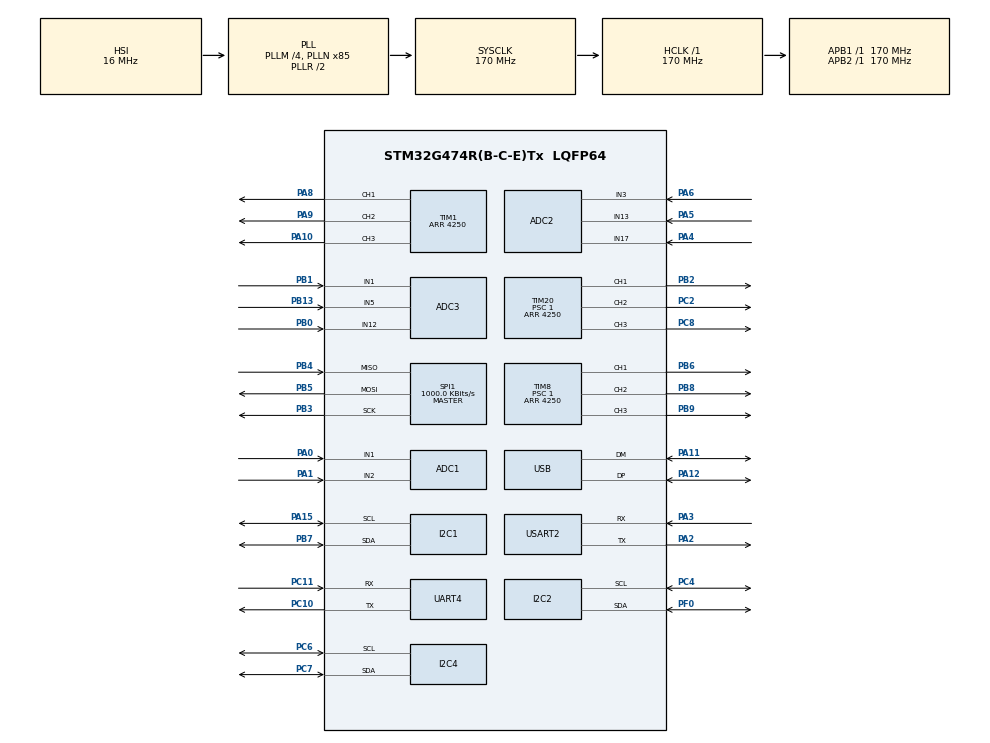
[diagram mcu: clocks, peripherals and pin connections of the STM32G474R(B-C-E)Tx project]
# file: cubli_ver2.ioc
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ADC1.Channel-0\#ChannelRegularConversion=ADC_CHANNEL_1
ADC1.Channel-1\#ChannelRegularConversion=ADC_CHANNEL_2
ADC1.Channel-2\#ChannelRegularConversion=ADC_CHANNEL_3
ADC1.ClockPrescaler=ADC_CLOCK_SYNC_PCLK_DIV4
ADC1.ExternalTrigConv=ADC_EXTERNALTRIG_T1_TRGO2
ADC1.NbrOfConversion=3
ADC1.NbrOfConversionFlag=1
ADC1.OffsetNumber-0\#ChannelRegularConversion=ADC_OFFSET_NONE
ADC1.OffsetNumber-1\#ChannelRegularConversion=ADC_OFFSET_NONE
ADC1.OffsetNumber-2\#ChannelRegularConversion=ADC_OFFSET_NONE
ADC1.Rank-0\#ChannelRegularConversion=1
ADC1.Rank-1\#ChannelRegularConversion=2
ADC1.Rank-2\#ChannelRegularConversion=3
ADC1.SamplingTime-0\#ChannelRegularConversion=ADC_SAMPLETIME_2CYCLES_5
ADC1.SamplingTime-1\#ChannelRegularConversion=ADC_SAMPLETIME_2CYCLES_5
ADC1.SamplingTime-2\#ChannelRegularConversion=ADC_SAMPLETIME_2CYCLES_5
ADC1.master=1
ADC2.Channel-0\#ChannelRegularConversion=ADC_CHANNEL_3
ADC2.Channel-1\#ChannelRegularConversion=ADC_CHANNEL_13
ADC2.Channel-2\#ChannelRegularConversion=ADC_CHANNEL_17
ADC2.ClockPrescaler=ADC_CLOCK_SYNC_PCLK_DIV4
ADC2.NbrOfConversion=3
ADC2.NbrOfConversionFlag=1
ADC2.OffsetNumber-0\#ChannelRegularConversion=ADC_OFFSET_NONE
ADC2.OffsetNumber-1\#ChannelRegularConversion=ADC_OFFSET_NONE
ADC2.OffsetNumber-2\#ChannelRegularConversion=ADC_OFFSET_NONE
ADC2.Rank-0\#ChannelRegularConversion=1
ADC2.Rank-1\#ChannelRegularConversion=2
ADC2.Rank-2\#ChannelRegularConversion=3
ADC2.SamplingTime-0\#ChannelRegularConversion=ADC_SAMPLETIME_2CYCLES_5
ADC2.SamplingTime-1\#ChannelRegularConversion=ADC_SAMPLETIME_2CYCLES_5
ADC2.SamplingTime-2\#ChannelRegularConversion=ADC_SAMPLETIME_2CYCLES_5
ADC3.Channel-0\#ChannelRegularConversion=ADC_CHANNEL_1
ADC3.NbrOfConversionFlag=1
ADC3.OffsetNumber-0\#ChannelRegularConversion=ADC_OFFSET_NONE
ADC3.Rank-0\#ChannelRegularConversion=1
ADC3.SamplingTime-0\#ChannelRegularConversion=ADC_SAMPLETIME_2CYCLES_5
ADC3.master=1
Mcu.Family=STM32G4
Mcu.Name=STM32G474R(B-C-E)Tx
Mcu.Package=LQFP64
NVIC.PriorityGroup=NVIC_PRIORITYGROUP_4
PA0.Mode=IN1-Single-Ended
PA0.Signal=ADC1_IN1
PA1.Mode=IN2-Single-Ended
PA1.Signal=ADC1_IN2
PA10.Signal=S_TIM1_CH3
PA11.Mode=Device
PA11.Signal=USB_DM
PA12.Mode=Device
PA12.Signal=USB_DP
PA13.Mode=Serial_Wire
PA13.Signal=SYS_JTMS-SWDIO
PA14.Mode=Serial_Wire
PA14.Signal=SYS_JTCK-SWCLK
PA15.Mode=I2C
PA15.Signal=I2C1_SCL
PA2.Mode=Asynchronous
PA2.Signal=USART2_TX
PA3.Mode=Asynchronous
PA3.Signal=USART2_RX
PA4.Mode=IN17-Single-Ended
PA4.Signal=ADC2_IN17
PA5.Mode=IN13-Single-Ended
PA5.Signal=ADC2_IN13
PA6.Mode=IN3-Single-Ended
PA6.Signal=ADC2_IN3
PA8.Signal=S_TIM1_CH1
PA9.Signal=S_TIM1_CH2
PB0.Mode=IN12-Single-Ended
PB0.Signal=ADC3_IN12
PB1.Mode=IN1-Single-Ended
PB1.Signal=ADC3_IN1
PB13.Mode=IN5-Single-Ended
PB13.Signal=ADC3_IN5
PB2.Signal=S_TIM20_CH1
PB3.Mode=Full_Duplex_Master
PB3.Signal=SPI1_SCK
PB4.Mode=Full_Duplex_Master
PB4.Signal=SPI1_MISO
PB5.Mode=Full_Duplex_Master
PB5.Signal=SPI1_MOSI
PB6.Signal=S_TIM8_CH1
PB7.Mode=I2C
PB7.Signal=I2C1_SDA
PB8-BOOT0.Signal=S_TIM8_CH2
PB9.Signal=S_TIM8_CH3
PC10.Mode=Asynchronous
PC10.Signal=UART4_TX
PC11.Mode=Asynchronous
PC11.Signal=UART4_RX
PC2.Signal=S_TIM20_CH2
PC4.Mode=I2C
PC4.Signal=I2C2_SCL
PC6.Mode=I2C
PC6.Signal=I2C4_SCL
PC7.Mode=I2C
PC7.Signal=I2C4_SDA
PC8.Signal=S_TIM20_CH3
PF0-OSC_IN.Mode=I2C
PF0-OSC_IN.Signal=I2C2_SDA
ProjectManager.HeapSize=0x200
ProjectManager.StackSize=0x400
ProjectManager.TargetToolchain=STM32CubeIDE
RCC.ADC12Freq_Value=170000000
RCC.ADC345Freq_Value=170000000
RCC.AHBFreq_Value=170000000
RCC.APB1Freq_Value=170000000
RCC.APB1TimFreq_Value=170000000
RCC.APB2Freq_Value=170000000
RCC.APB2TimFreq_Value=170000000
RCC.CK48CLockSelection=RCC_USBCLKSOURCE_HSI48
RCC.CortexFreq_Value=170000000
RCC.EXTERNAL_CLOCK_VALUE=12288000
RCC.HCLKFreq_Value=170000000
RCC.HSE_VALUE=8000000
RCC.HSI48_VALUE=48000000
RCC.HSI_VALUE=16000000
RCC.LSE_VALUE=32768
RCC.PLLM=RCC_PLLM_DIV4
RCC.PLLN=85
RCC.PLLP=RCC_PLLP_DIV8
RCC.PLLQ=RCC_PLLQ_DIV8
RCC.SYSCLKFreq_VALUE=170000000
RCC.SYSCLKSource=RCC_SYSCLKSOURCE_PLLCLK
RCC.USBFreq_Value=48000000
RCC.VCOOutputFreq_Value=340000000
SH.S_TIM1_CH1.0=TIM1_CH1,PWM Generation1 CH1
SH.S_TIM1_CH2.0=TIM1_CH2,PWM Generation2 CH2
SH.S_TIM1_CH3.0=TIM1_CH3,PWM Generation3 CH3
SH.S_TIM20_CH1.0=TIM20_CH1,PWM Generation1 CH1
SH.S_TIM20_CH2.0=TIM20_CH2,PWM Generation2 CH2
SH.S_TIM20_CH3.0=TIM20_CH3,PWM Generation3 CH3
SH.S_TIM8_CH1.0=TIM8_CH1,PWM Generation1 CH1
SH.S_TIM8_CH2.0=TIM8_CH2,PWM Generation2 CH2
SH.S_TIM8_CH3.0=TIM8_CH3,PWM Generation3 CH3
SPI1.BaudRatePrescaler=SPI_BAUDRATEPRESCALER_16
SPI1.CLKPhase=SPI_PHASE_2EDGE
SPI1.CLKPolarity=SPI_POLARITY_HIGH
SPI1.CalculateBaudRate=1000.0 KBits/s
SPI1.DataSize=SPI_DATASIZE_8BIT
SPI1.Direction=SPI_DIRECTION_2LINES
SPI1.Mode=SPI_MODE_MASTER
SPI1.VirtualType=VM_MASTER
STMicroelectronics.X-CUBE-AI.10.2.0.ActivationBufferSizeList=2348
STMicroelectronics.X-CUBE-AI.10.2.0.ActivationBuffers=pool0
STMicroelectronics.X-CUBE-AI.10.2.0.ActivationNames=pool0
STMicroelectronics.X-CUBE-AI.10.2.0.ActivationSizes=AI_NETWORK_DATA_ACTIVATION_1_SIZE
STMicroelectronics.X-CUBE-AI.10.2.0.HeapSize=0x800
STMicroelectronics.X-CUBE-AI.10.2.0.InternalRamActivationBufferMaxSize=AI_NETWORK_DATA_ACTIVATIONS_SIZE
STMicroelectronics.X-CUBE-AI.10.2.0.LatestDirectoryUsed-7c3c4245c75916d759727b38d3cfcf04edecdf17e2a1639f750bcc5382fb2f9d=E\:\\prog\\Python\\cubli_workspace
STMicroelectronics.X-CUBE-AI.10.2.0.MaximumNumberOfInputLayer=1
STMicroelectronics.X-CUBE-AI.10.2.0.MaximumNumberOfOutputLayer=1
STMicroelectronics.X-CUBE-AI.10.2.0.MaximumSizeOfInputLayer=1
STMicroelectronics.X-CUBE-AI.10.2.0.MaximumSizeOfOutputLayer=1
STMicroelectronics.X-CUBE-AI.10.2.0.ModelActualCompression-7c3c4245c75916d759727b38d3cfcf04edecdf17e2a1639f750bcc5382fb2f9d=0.0
STMicroelectronics.X-CUBE-AI.10.2.0.ModelCompression-7c3c4245c75916d759727b38d3cfcf04edecdf17e2a1639f750bcc5382fb2f9d=None
STMicroelectronics.X-CUBE-AI.10.2.0.ModelFlashOccupation-7c3c4245c75916d759727b38d3cfcf04edecdf17e2a1639f750bcc5382fb2f9d=29326
STMicroelectronics.X-CUBE-AI.10.2.0.ModelHashList=7c3c4245c75916d759727b38d3cfcf04edecdf17e2a1639f750bcc5382fb2f9d
STMicroelectronics.X-CUBE-AI.10.2.0.ModelKind-7c3c4245c75916d759727b38d3cfcf04edecdf17e2a1639f750bcc5382fb2f9d=ONNX
STMicroelectronics.X-CUBE-AI.10.2.0.ModelMacc-7c3c4245c75916d759727b38d3cfcf04edecdf17e2a1639f750bcc5382fb2f9d=6083
STMicroelectronics.X-CUBE-AI.10.2.0.ModelName-7c3c4245c75916d759727b38d3cfcf04edecdf17e2a1639f750bcc5382fb2f9d=network
STMicroelectronics.X-CUBE-AI.10.2.0.ModelNameList=network
STMicroelectronics.X-CUBE-AI.10.2.0.ModelRamOccupation-7c3c4245c75916d759727b38d3cfcf04edecdf17e2a1639f750bcc5382fb2f9d=2348
STMicroelectronics.X-CUBE-AI.10.2.0.ModelStructureFile-7c3c4245c75916d759727b38d3cfcf04edecdf17e2a1639f750bcc5382fb2f9d=E\:\\prog\\Python\\cubli_workspace\\cubli_policy.onnx
STMicroelectronics.X-CUBE-AI.10.2.0.ModelType-7c3c4245c75916d759727b38d3cfcf04edecdf17e2a1639f750bcc5382fb2f9d=STM32Cube.AI MCU runtime
STMicroelectronics.X-CUBE-AI.10.2.0.ReadyForCodeGeneration=true
STMicroelectronics.X-CUBE-AI.10.2.0.StackSize=0x800
STMicroelectronics.X-CUBE-AI.10.2.0.WorkingBufferStartAddrList=0xFFFFFFFF
STMicroelectronics.X-CUBE-AI.10.2.0.XAaCUBEAaAICcArtificialOoIntelligenceJjCore=true
STMicroelectronics.X-CUBE-AI.10.2.0.copyWeightToRam=false
STMicroelectronics.X-CUBE-AI.10.2.0.customLayerConfigEnabled=false
STMicroelectronics.X-CUBE-AI.10.2.0.noOnnxIoTranspose=false
STMicroelectronics.X-CUBE-AI.10.2.0.useInputAllocation=true
STMicroelectronics.X-CUBE-AI.10.2.0.useOutputAllocation=true
TIM1.Channel-Output\ Compare4\ No\ Output=TIM_CHANNEL_4
TIM1.Channel-PWM\ Generation1\ CH1=TIM_CHANNEL_1
TIM1.Channel-PWM\ Generation2\ CH2=TIM_CHANNEL_2
TIM1.Channel-PWM\ Generation3\ CH3=TIM_CHANNEL_3
TIM1.CounterMode=TIM_COUNTERMODE_CENTERALIGNED1
TIM1.PeriodNoDither=4250
TIM1.RepetitionCounter=1
TIM1.TIM_MasterOutputTrigger2=TIM_TRGO2_OC4REF
TIM20.Channel-PWM\ Generation1\ CH1=TIM_CHANNEL_1
TIM20.Channel-PWM\ Generation2\ CH2=TIM_CHANNEL_2
TIM20.Channel-PWM\ Generation3\ CH3=TIM_CHANNEL_3
TIM20.CounterMode=TIM_COUNTERMODE_CENTERALIGNED1
TIM20.PeriodNoDither=4250
TIM20.Prescaler=1
TIM20.TIM_MasterOutputTrigger2=TIM_TRGO2_OC4REF
TIM8.Channel-Output\ Compare4\ No\ Output=TIM_CHANNEL_4
TIM8.Channel-PWM\ Generation1\ CH1=TIM_CHANNEL_1
TIM8.Channel-PWM\ Generation2\ CH2=TIM_CHANNEL_2
TIM8.Channel-PWM\ Generation3\ CH3=TIM_CHANNEL_3
TIM8.CounterMode=TIM_COUNTERMODE_CENTERALIGNED1
TIM8.PeriodNoDither=4250
TIM8.Prescaler=1
TIM8.RepetitionCounter=1
TIM8.TIM_MasterOutputTrigger2=TIM_TRGO2_OC4REF
USART2.VirtualMode-Asynchronous=VM_ASYNC
VP_STMicroelectronics.X-CUBE-AI_VS_ArtificialOoIntelligenceJjXAaCUBEAaAI_10.2.0.Mode=ArtificialOoIntelligenceJjXAaCUBEAaAI
VP_SYS_VS_DBSignals.Mode=DisableDeadBatterySignals
VP_TIM1_VS_no_output4.Mode=Output Compare4 No Output
VP_TIM8_VS_no_output4.Mode=Output Compare4 No Output
board=custom

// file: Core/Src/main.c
/* USER CODE BEGIN Header */
/**
  ******************************************************************************
  * @file           : main.c
  * @brief          : Main program body
  ******************************************************************************
  * @attention
  *
  * Copyright (c) 2026 STMicroelectronics.
  * All rights reserved.
  *
  * This software is licensed under terms that can be found in the LICENSE file
  * in the root directory of this software component.
  * If no LICENSE file comes with this software, it is provided AS-IS.
  *
  ******************************************************************************
  */
/* USER CODE END Header */
#include "main.h"

/* USER CODE BEGIN Includes */
#include "ai_platform.h"
#include "network.h"      // 生�?�されたモ�?ル定義
#include "network_data.h"
#include <stdio.h>        // printf 用
/* USER CODE END Includes */

ADC_HandleTypeDef hadc1;
ADC_HandleTypeDef hadc2;
ADC_HandleTypeDef hadc3;

I2C_HandleTypeDef hi2c1;
I2C_HandleTypeDef hi2c2;
I2C_HandleTypeDef hi2c4;

SPI_HandleTypeDef hspi1;

TIM_HandleTypeDef htim1;
TIM_HandleTypeDef htim8;
TIM_HandleTypeDef htim20;

UART_HandleTypeDef huart4;
UART_HandleTypeDef huart2;

PCD_HandleTypeDef hpcd_USB_FS;

/* USER CODE BEGIN PV */
// AI ハンドラ・アク�?ィベ�?�ションバッファ?��中間層の演算結果保持用?�?
ai_handle network = AI_HANDLE_NULL;
AI_ALIGNED(32) ai_u8 activations[AI_NETWORK_DATA_ACTIVATIONS_SIZE];

// 入出力データバッファ
// In:  [Roll, Pitch, GyroX, GyroY, GyroZ, WheelSpeed] -> 6 次�?
AI_ALIGNED(32) ai_float in_data[AI_NETWORK_IN_1_SIZE];
// Out: [Torque_X, Torque_Y, Torque_Z] -> 3 次�?
AI_ALIGNED(32) ai_float out_data[AI_NETWORK_OUT_1_SIZE];

// バッファポインタ構�??�?
ai_buffer *ai_input;
ai_buffer *ai_output;
/* USER CODE END PV */

void SystemClock_Config(void);
static void MX_GPIO_Init(void);
static void MX_ADC1_Init(void);
static void MX_ADC2_Init(void);
static void MX_ADC3_Init(void);
static void MX_I2C1_Init(void);
static void MX_I2C2_Init(void);
static void MX_I2C4_Init(void);
static void MX_SPI1_Init(void);
static void MX_TIM1_Init(void);
static void MX_TIM8_Init(void);
static void MX_TIM20_Init(void);
static void MX_UART4_Init(void);
static void MX_USB_PCD_Init(void);
static void MX_USART2_UART_Init(void);

int main(void)
{

  /* MCU Configuration--------------------------------------------------------*/

  /* Reset of all peripherals, Initializes the Flash interface and the Systick. */
  HAL_Init();

  /* Configure the system clock */
  SystemClock_Config();

  /* Initialize all configured peripherals */
  MX_GPIO_Init();
  MX_ADC1_Init();
  MX_ADC2_Init();
  MX_ADC3_Init();
  MX_I2C1_Init();
  MX_I2C2_Init();
  MX_I2C4_Init();
  MX_SPI1_Init();
  MX_TIM1_Init();
  MX_TIM8_Init();
  MX_TIM20_Init();
  MX_UART4_Init();
  MX_USB_PCD_Init();
  MX_USART2_UART_Init();
  /* USER CODE BEGIN 2 */
  printf("AI Initialization...\r\n");

  // 1. ネットワークインスタンスの作�??
  ai_error err;
  err = ai_network_create(&network, AI_NETWORK_DATA_CONFIG);
  if (err.type != AI_ERROR_NONE) {
      printf("AI Create Error: %d\r\n", err.type);
      Error_Handler();
  }

  // 2. 重みパラメータとワークバッファの割り当て
  ai_network_params params = AI_NETWORK_PARAMS_INIT(
      AI_NETWORK_DATA_WEIGHTS(ai_network_data_weights_get()),
      AI_NETWORK_DATA_ACTIVATIONS(activations)
  );

  if (!ai_network_init(network, &params)) {
      printf("AI Init Error\r\n");
      Error_Handler();
  }

  // 3. 入出力�?�インタの取得と実データバッファの紐付け
  ai_input  = ai_network_inputs_get(network, NULL);
  ai_output = ai_network_outputs_get(network, NULL);
  ai_input[0].data  = AI_HANDLE_PTR(in_data);
  ai_output[0].data = AI_HANDLE_PTR(out_data);

  printf("AI Ready!\r\n");
  /* USER CODE END 2 */

  /* Infinite loop */
  /* USER CODE BEGIN WHILE */
  while (1)
  {
	    // 1. センサ入力（テスト用�?ミ�?�値?�?
	    // 本番ではここに IMU センサ値を正規化して代入する
	    for (int i = 0; i < AI_NETWORK_IN_1_SIZE; i++) {
	        in_data[i] = 0.1f * (float)(i + 1);
	    }

	    // 2. 推論実�?
	    ai_i32 batch = ai_network_run(network, ai_input, ai_output);

	    if (batch != 1) {
	        printf("Inference Error\r\n");
	    } else {
	        // 3. 結果出力（モータトルク�?令値?�?
	        // PPO の Tanh 出力�?�ため -1.0 �? 1.0 の�?囲になる�?��?
	        printf("In:[Dummy] -> Out(Torque): %.3f, %.3f, %.3f\r\n",out_data[0], out_data[1], out_data[2]);
	    }

	    HAL_Delay(500);
    /* USER CODE END WHILE */

  }
}

void SystemClock_Config(void)
{
  RCC_OscInitTypeDef RCC_OscInitStruct = {0};
  RCC_ClkInitTypeDef RCC_ClkInitStruct = {0};

  /** Configure the main internal regulator output voltage
  */
  HAL_PWREx_ControlVoltageScaling(PWR_REGULATOR_VOLTAGE_SCALE1_BOOST);

  /** Initializes the RCC Oscillators according to the specified parameters
  * in the RCC_OscInitTypeDef structure.
  */
  RCC_OscInitStruct.OscillatorType = RCC_OSCILLATORTYPE_HSI|RCC_OSCILLATORTYPE_HSI48;
  RCC_OscInitStruct.HSIState = RCC_HSI_ON;
  RCC_OscInitStruct.HSICalibrationValue = RCC_HSICALIBRATION_DEFAULT;
  RCC_OscInitStruct.HSI48State = RCC_HSI48_ON;
  RCC_OscInitStruct.PLL.PLLState = RCC_PLL_ON;
  RCC_OscInitStruct.PLL.PLLSource = RCC_PLLSOURCE_HSI;
  RCC_OscInitStruct.PLL.PLLM = RCC_PLLM_DIV4;
  RCC_OscInitStruct.PLL.PLLN = 85;
  RCC_OscInitStruct.PLL.PLLP = RCC_PLLP_DIV8;
  RCC_OscInitStruct.PLL.PLLQ = RCC_PLLQ_DIV8;
  RCC_OscInitStruct.PLL.PLLR = RCC_PLLR_DIV2;
  if (HAL_RCC_OscConfig(&RCC_OscInitStruct) != HAL_OK)
  {
    Error_Handler();
  }

  /** Initializes the CPU, AHB and APB buses clocks
  */
  RCC_ClkInitStruct.ClockType = RCC_CLOCKTYPE_HCLK|RCC_CLOCKTYPE_SYSCLK
                              |RCC_CLOCKTYPE_PCLK1|RCC_CLOCKTYPE_PCLK2;
  RCC_ClkInitStruct.SYSCLKSource = RCC_SYSCLKSOURCE_PLLCLK;
  RCC_ClkInitStruct.AHBCLKDivider = RCC_SYSCLK_DIV1;
  RCC_ClkInitStruct.APB1CLKDivider = RCC_HCLK_DIV1;
  RCC_ClkInitStruct.APB2CLKDivider = RCC_HCLK_DIV1;

  if (HAL_RCC_ClockConfig(&RCC_ClkInitStruct, FLASH_LATENCY_4) != HAL_OK)
  {
    Error_Handler();
  }
}

static void MX_ADC1_Init(void)
{

  ADC_MultiModeTypeDef multimode = {0};
  ADC_ChannelConfTypeDef sConfig = {0};

  /** Common config
  */
  hadc1.Instance = ADC1;
  hadc1.Init.ClockPrescaler = ADC_CLOCK_SYNC_PCLK_DIV4;
  hadc1.Init.Resolution = ADC_RESOLUTION_12B;
  hadc1.Init.DataAlign = ADC_DATAALIGN_RIGHT;
  hadc1.Init.GainCompensation = 0;
  hadc1.Init.ScanConvMode = ADC_SCAN_ENABLE;
  hadc1.Init.EOCSelection = ADC_EOC_SINGLE_CONV;
  hadc1.Init.LowPowerAutoWait = DISABLE;
  hadc1.Init.ContinuousConvMode = DISABLE;
  hadc1.Init.NbrOfConversion = 3;
  hadc1.Init.DiscontinuousConvMode = DISABLE;
  hadc1.Init.ExternalTrigConv = ADC_EXTERNALTRIG_T1_TRGO2;
  hadc1.Init.ExternalTrigConvEdge = ADC_EXTERNALTRIGCONVEDGE_RISING;
  hadc1.Init.DMAContinuousRequests = DISABLE;
  hadc1.Init.Overrun = ADC_OVR_DATA_PRESERVED;
  hadc1.Init.OversamplingMode = DISABLE;
  if (HAL_ADC_Init(&hadc1) != HAL_OK)
  {
    Error_Handler();
  }

  /** Configure the ADC multi-mode
  */
  multimode.Mode = ADC_MODE_INDEPENDENT;
  if (HAL_ADCEx_MultiModeConfigChannel(&hadc1, &multimode) != HAL_OK)
  {
    Error_Handler();
  }

  /** Configure Regular Channel
  */
  sConfig.Channel = ADC_CHANNEL_1;
  sConfig.Rank = ADC_REGULAR_RANK_1;
  sConfig.SamplingTime = ADC_SAMPLETIME_2CYCLES_5;
  sConfig.SingleDiff = ADC_SINGLE_ENDED;
  sConfig.OffsetNumber = ADC_OFFSET_NONE;
  sConfig.Offset = 0;
  if (HAL_ADC_ConfigChannel(&hadc1, &sConfig) != HAL_OK)
  {
    Error_Handler();
  }

  /** Configure Regular Channel
  */
  sConfig.Channel = ADC_CHANNEL_2;
  sConfig.Rank = ADC_REGULAR_RANK_2;
  if (HAL_ADC_ConfigChannel(&hadc1, &sConfig) != HAL_OK)
  {
    Error_Handler();
  }

  /** Configure Regular Channel
  */
  sConfig.Channel = ADC_CHANNEL_3;
  sConfig.Rank = ADC_REGULAR_RANK_3;
  if (HAL_ADC_ConfigChannel(&hadc1, &sConfig) != HAL_OK)
  {
    Error_Handler();
  }

}

static void MX_ADC2_Init(void)
{

  ADC_ChannelConfTypeDef sConfig = {0};

  /** Common config
  */
  hadc2.Instance = ADC2;
  hadc2.Init.ClockPrescaler = ADC_CLOCK_SYNC_PCLK_DIV4;
  hadc2.Init.Resolution = ADC_RESOLUTION_12B;
  hadc2.Init.DataAlign = ADC_DATAALIGN_RIGHT;
  hadc2.Init.GainCompensation = 0;
  hadc2.Init.ScanConvMode = ADC_SCAN_ENABLE;
  hadc2.Init.EOCSelection = ADC_EOC_SINGLE_CONV;
  hadc2.Init.LowPowerAutoWait = DISABLE;
  hadc2.Init.ContinuousConvMode = DISABLE;
  hadc2.Init.NbrOfConversion = 3;
  hadc2.Init.DiscontinuousConvMode = DISABLE;
  hadc2.Init.ExternalTrigConv = ADC_SOFTWARE_START;
  hadc2.Init.ExternalTrigConvEdge = ADC_EXTERNALTRIGCONVEDGE_NONE;
  hadc2.Init.DMAContinuousRequests = DISABLE;
  hadc2.Init.Overrun = ADC_OVR_DATA_PRESERVED;
  hadc2.Init.OversamplingMode = DISABLE;
  if (HAL_ADC_Init(&hadc2) != HAL_OK)
  {
    Error_Handler();
  }

  /** Configure Regular Channel
  */
  sConfig.Channel = ADC_CHANNEL_3;
  sConfig.Rank = ADC_REGULAR_RANK_1;
  sConfig.SamplingTime = ADC_SAMPLETIME_2CYCLES_5;
  sConfig.SingleDiff = ADC_SINGLE_ENDED;
  sConfig.OffsetNumber = ADC_OFFSET_NONE;
  sConfig.Offset = 0;
  if (HAL_ADC_ConfigChannel(&hadc2, &sConfig) != HAL_OK)
  {
    Error_Handler();
  }

  /** Configure Regular Channel
  */
  sConfig.Channel = ADC_CHANNEL_13;
  sConfig.Rank = ADC_REGULAR_RANK_2;
  if (HAL_ADC_ConfigChannel(&hadc2, &sConfig) != HAL_OK)
  {
    Error_Handler();
  }

  /** Configure Regular Channel
  */
  sConfig.Channel = ADC_CHANNEL_17;
  sConfig.Rank = ADC_REGULAR_RANK_3;
  if (HAL_ADC_ConfigChannel(&hadc2, &sConfig) != HAL_OK)
  {
    Error_Handler();
  }

}

static void MX_ADC3_Init(void)
{

  ADC_MultiModeTypeDef multimode = {0};
  ADC_ChannelConfTypeDef sConfig = {0};

  /** Common config
  */
  hadc3.Instance = ADC3;
  hadc3.Init.ClockPrescaler = ADC_CLOCK_SYNC_PCLK_DIV4;
  hadc3.Init.Resolution = ADC_RESOLUTION_12B;
  hadc3.Init.DataAlign = ADC_DATAALIGN_RIGHT;
  hadc3.Init.GainCompensation = 0;
  hadc3.Init.ScanConvMode = ADC_SCAN_DISABLE;
  hadc3.Init.EOCSelection = ADC_EOC_SINGLE_CONV;
  hadc3.Init.LowPowerAutoWait = DISABLE;
  hadc3.Init.ContinuousConvMode = DISABLE;
  hadc3.Init.NbrOfConversion = 1;
  hadc3.Init.DiscontinuousConvMode = DISABLE;
  hadc3.Init.ExternalTrigConv = ADC_SOFTWARE_START;
  hadc3.Init.ExternalTrigConvEdge = ADC_EXTERNALTRIGCONVEDGE_NONE;
  hadc3.Init.DMAContinuousRequests = DISABLE;
  hadc3.Init.Overrun = ADC_OVR_DATA_PRESERVED;
  hadc3.Init.OversamplingMode = DISABLE;
  if (HAL_ADC_Init(&hadc3) != HAL_OK)
  {
    Error_Handler();
  }

  /** Configure the ADC multi-mode
  */
  multimode.Mode = ADC_MODE_INDEPENDENT;
  if (HAL_ADCEx_MultiModeConfigChannel(&hadc3, &multimode) != HAL_OK)
  {
    Error_Handler();
  }

  /** Configure Regular Channel
  */
  sConfig.Channel = ADC_CHANNEL_1;
  sConfig.Rank = ADC_REGULAR_RANK_1;
  sConfig.SamplingTime = ADC_SAMPLETIME_2CYCLES_5;
  sConfig.SingleDiff = ADC_SINGLE_ENDED;
  sConfig.OffsetNumber = ADC_OFFSET_NONE;
  sConfig.Offset = 0;
  if (HAL_ADC_ConfigChannel(&hadc3, &sConfig) != HAL_OK)
  {
    Error_Handler();
  }

}

static void MX_I2C1_Init(void)
{

  hi2c1.Instance = I2C1;
  hi2c1.Init.Timing = 0x00303D5B;
  hi2c1.Init.OwnAddress1 = 0;
  hi2c1.Init.AddressingMode = I2C_ADDRESSINGMODE_7BIT;
  hi2c1.Init.DualAddressMode = I2C_DUALADDRESS_DISABLE;
  hi2c1.Init.OwnAddress2 = 0;
  hi2c1.Init.OwnAddress2Masks = I2C_OA2_NOMASK;
  hi2c1.Init.GeneralCallMode = I2C_GENERALCALL_DISABLE;
  hi2c1.Init.NoStretchMode = I2C_NOSTRETCH_DISABLE;
  if (HAL_I2C_Init(&hi2c1) != HAL_OK)
  {
    Error_Handler();
  }

  /** Configure Analogue filter
  */
  if (HAL_I2CEx_ConfigAnalogFilter(&hi2c1, I2C_ANALOGFILTER_ENABLE) != HAL_OK)
  {
    Error_Handler();
  }

  /** Configure Digital filter
  */
  if (HAL_I2CEx_ConfigDigitalFilter(&hi2c1, 0) != HAL_OK)
  {
    Error_Handler();
  }

}

static void MX_I2C2_Init(void)
{

  hi2c2.Instance = I2C2;
  hi2c2.Init.Timing = 0x00303D5B;
  hi2c2.Init.OwnAddress1 = 0;
  hi2c2.Init.AddressingMode = I2C_ADDRESSINGMODE_7BIT;
  hi2c2.Init.DualAddressMode = I2C_DUALADDRESS_DISABLE;
  hi2c2.Init.OwnAddress2 = 0;
  hi2c2.Init.OwnAddress2Masks = I2C_OA2_NOMASK;
  hi2c2.Init.GeneralCallMode = I2C_GENERALCALL_DISABLE;
  hi2c2.Init.NoStretchMode = I2C_NOSTRETCH_DISABLE;
  if (HAL_I2C_Init(&hi2c2) != HAL_OK)
  {
    Error_Handler();
  }

  /** Configure Analogue filter
  */
  if (HAL_I2CEx_ConfigAnalogFilter(&hi2c2, I2C_ANALOGFILTER_ENABLE) != HAL_OK)
  {
    Error_Handler();
  }

  /** Configure Digital filter
  */
  if (HAL_I2CEx_ConfigDigitalFilter(&hi2c2, 0) != HAL_OK)
  {
    Error_Handler();
  }

}

static void MX_I2C4_Init(void)
{

  hi2c4.Instance = I2C4;
  hi2c4.Init.Timing = 0x00303D5B;
  hi2c4.Init.OwnAddress1 = 0;
  hi2c4.Init.AddressingMode = I2C_ADDRESSINGMODE_7BIT;
  hi2c4.Init.DualAddressMode = I2C_DUALADDRESS_DISABLE;
  hi2c4.Init.OwnAddress2 = 0;
  hi2c4.Init.OwnAddress2Masks = I2C_OA2_NOMASK;
  hi2c4.Init.GeneralCallMode = I2C_GENERALCALL_DISABLE;
  hi2c4.Init.NoStretchMode = I2C_NOSTRETCH_DISABLE;
  if (HAL_I2C_Init(&hi2c4) != HAL_OK)
  {
    Error_Handler();
  }

  /** Configure Analogue filter
  */
  if (HAL_I2CEx_ConfigAnalogFilter(&hi2c4, I2C_ANALOGFILTER_ENABLE) != HAL_OK)
  {
    Error_Handler();
  }

  /** Configure Digital filter
  */
  if (HAL_I2CEx_ConfigDigitalFilter(&hi2c4, 0) != HAL_OK)
  {
    Error_Handler();
  }

}

static void MX_SPI1_Init(void)
{

  /* SPI1 parameter configuration*/
  hspi1.Instance = SPI1;
  hspi1.Init.Mode = SPI_MODE_MASTER;
  hspi1.Init.Direction = SPI_DIRECTION_2LINES;
  hspi1.Init.DataSize = SPI_DATASIZE_8BIT;
  hspi1.Init.CLKPolarity = SPI_POLARITY_HIGH;
  hspi1.Init.CLKPhase = SPI_PHASE_2EDGE;
  hspi1.Init.NSS = SPI_NSS_SOFT;
  hspi1.Init.BaudRatePrescaler = SPI_BAUDRATEPRESCALER_16;
  hspi1.Init.FirstBit = SPI_FIRSTBIT_MSB;
  hspi1.Init.TIMode = SPI_TIMODE_DISABLE;
  hspi1.Init.CRCCalculation = SPI_CRCCALCULATION_DISABLE;
  hspi1.Init.CRCPolynomial = 7;
  hspi1.Init.CRCLength = SPI_CRC_LENGTH_DATASIZE;
  hspi1.Init.NSSPMode = SPI_NSS_PULSE_DISABLE;
  if (HAL_SPI_Init(&hspi1) != HAL_OK)
  {
    Error_Handler();
  }

}

static void MX_TIM1_Init(void)
{

  TIM_MasterConfigTypeDef sMasterConfig = {0};
  TIM_OC_InitTypeDef sConfigOC = {0};
  TIM_BreakDeadTimeConfigTypeDef sBreakDeadTimeConfig = {0};

  htim1.Instance = TIM1;
  htim1.Init.Prescaler = 0;
  htim1.Init.CounterMode = TIM_COUNTERMODE_CENTERALIGNED1;
  htim1.Init.Period = 4250;
  htim1.Init.ClockDivision = TIM_CLOCKDIVISION_DIV1;
  htim1.Init.RepetitionCounter = 1;
  htim1.Init.AutoReloadPreload = TIM_AUTORELOAD_PRELOAD_DISABLE;
  if (HAL_TIM_PWM_Init(&htim1) != HAL_OK)
  {
    Error_Handler();
  }
  if (HAL_TIM_OC_Init(&htim1) != HAL_OK)
  {
    Error_Handler();
  }
  sMasterConfig.MasterOutputTrigger = TIM_TRGO_RESET;
  sMasterConfig.MasterOutputTrigger2 = TIM_TRGO2_OC4REF;
  sMasterConfig.MasterSlaveMode = TIM_MASTERSLAVEMODE_DISABLE;
  if (HAL_TIMEx_MasterConfigSynchronization(&htim1, &sMasterConfig) != HAL_OK)
  {
    Error_Handler();
  }
  sConfigOC.OCMode = TIM_OCMODE_PWM1;
  sConfigOC.Pulse = 0;
  sConfigOC.OCPolarity = TIM_OCPOLARITY_HIGH;
  sConfigOC.OCNPolarity = TIM_OCNPOLARITY_HIGH;
  sConfigOC.OCFastMode = TIM_OCFAST_DISABLE;
  sConfigOC.OCIdleState = TIM_OCIDLESTATE_RESET;
  sConfigOC.OCNIdleState = TIM_OCNIDLESTATE_RESET;
  if (HAL_TIM_PWM_ConfigChannel(&htim1, &sConfigOC, TIM_CHANNEL_1) != HAL_OK)
  {
    Error_Handler();
  }
  if (HAL_TIM_PWM_ConfigChannel(&htim1, &sConfigOC, TIM_CHANNEL_2) != HAL_OK)
  {
    Error_Handler();
  }
  if (HAL_TIM_PWM_ConfigChannel(&htim1, &sConfigOC, TIM_CHANNEL_3) != HAL_OK)
  {
    Error_Handler();
  }
  sConfigOC.OCMode = TIM_OCMODE_TIMING;
  if (HAL_TIM_OC_ConfigChannel(&htim1, &sConfigOC, TIM_CHANNEL_4) != HAL_OK)
  {
    Error_Handler();
  }
  sBreakDeadTimeConfig.OffStateRunMode = TIM_OSSR_DISABLE;
  sBreakDeadTimeConfig.OffStateIDLEMode = TIM_OSSI_DISABLE;
  sBreakDeadTimeConfig.LockLevel = TIM_LOCKLEVEL_OFF;
  sBreakDeadTimeConfig.DeadTime = 0;
  sBreakDeadTimeConfig.BreakState = TIM_BREAK_DISABLE;
  sBreakDeadTimeConfig.BreakPolarity = TIM_BREAKPOLARITY_HIGH;
  sBreakDeadTimeConfig.BreakFilter = 0;
  sBreakDeadTimeConfig.BreakAFMode = TIM_BREAK_AFMODE_INPUT;
  sBreakDeadTimeConfig.Break2State = TIM_BREAK2_DISABLE;
  sBreakDeadTimeConfig.Break2Polarity = TIM_BREAK2POLARITY_HIGH;
  sBreakDeadTimeConfig.Break2Filter = 0;
  sBreakDeadTimeConfig.Break2AFMode = TIM_BREAK_AFMODE_INPUT;
  sBreakDeadTimeConfig.AutomaticOutput = TIM_AUTOMATICOUTPUT_DISABLE;
  if (HAL_TIMEx_ConfigBreakDeadTime(&htim1, &sBreakDeadTimeConfig) != HAL_OK)
  {
    Error_Handler();
  }
  HAL_TIM_MspPostInit(&htim1);

}

static void MX_TIM8_Init(void)
{

  TIM_MasterConfigTypeDef sMasterConfig = {0};
  TIM_OC_InitTypeDef sConfigOC = {0};
  TIM_BreakDeadTimeConfigTypeDef sBreakDeadTimeConfig = {0};

  htim8.Instance = TIM8;
  htim8.Init.Prescaler = 1;
  htim8.Init.CounterMode = TIM_COUNTERMODE_CENTERALIGNED1;
  htim8.Init.Period = 4250;
  htim8.Init.ClockDivision = TIM_CLOCKDIVISION_DIV1;
  htim8.Init.RepetitionCounter = 1;
  htim8.Init.AutoReloadPreload = TIM_AUTORELOAD_PRELOAD_DISABLE;
  if (HAL_TIM_PWM_Init(&htim8) != HAL_OK)
  {
    Error_Handler();
  }
  if (HAL_TIM_OC_Init(&htim8) != HAL_OK)
  {
    Error_Handler();
  }
  sMasterConfig.MasterOutputTrigger = TIM_TRGO_RESET;
  sMasterConfig.MasterOutputTrigger2 = TIM_TRGO2_OC4REF;
  sMasterConfig.MasterSlaveMode = TIM_MASTERSLAVEMODE_DISABLE;
  if (HAL_TIMEx_MasterConfigSynchronization(&htim8, &sMasterConfig) != HAL_OK)
  {
    Error_Handler();
  }
  sConfigOC.OCMode = TIM_OCMODE_PWM1;
  sConfigOC.Pulse = 0;
  sConfigOC.OCPolarity = TIM_OCPOLARITY_HIGH;
  sConfigOC.OCNPolarity = TIM_OCNPOLARITY_HIGH;
  sConfigOC.OCFastMode = TIM_OCFAST_DISABLE;
  sConfigOC.OCIdleState = TIM_OCIDLESTATE_RESET;
  sConfigOC.OCNIdleState = TIM_OCNIDLESTATE_RESET;
  if (HAL_TIM_PWM_ConfigChannel(&htim8, &sConfigOC, TIM_CHANNEL_1) != HAL_OK)
  {
    Error_Handler();
  }
  if (HAL_TIM_PWM_ConfigChannel(&htim8, &sConfigOC, TIM_CHANNEL_2) != HAL_OK)
  {
    Error_Handler();
  }
  if (HAL_TIM_PWM_ConfigChannel(&htim8, &sConfigOC, TIM_CHANNEL_3) != HAL_OK)
  {
    Error_Handler();
  }
  sConfigOC.OCMode = TIM_OCMODE_TIMING;
  if (HAL_TIM_OC_ConfigChannel(&htim8, &sConfigOC, TIM_CHANNEL_4) != HAL_OK)
  {
    Error_Handler();
  }
  sBreakDeadTimeConfig.OffStateRunMode = TIM_OSSR_DISABLE;
  sBreakDeadTimeConfig.OffStateIDLEMode = TIM_OSSI_DISABLE;
  sBreakDeadTimeConfig.LockLevel = TIM_LOCKLEVEL_OFF;
  sBreakDeadTimeConfig.DeadTime = 0;
  sBreakDeadTimeConfig.BreakState = TIM_BREAK_DISABLE;
  sBreakDeadTimeConfig.BreakPolarity = TIM_BREAKPOLARITY_HIGH;
  sBreakDeadTimeConfig.BreakFilter = 0;
  sBreakDeadTimeConfig.BreakAFMode = TIM_BREAK_AFMODE_INPUT;
  sBreakDeadTimeConfig.Break2State = TIM_BREAK2_DISABLE;
  sBreakDeadTimeConfig.Break2Polarity = TIM_BREAK2POLARITY_HIGH;
  sBreakDeadTimeConfig.Break2Filter = 0;
  sBreakDeadTimeConfig.Break2AFMode = TIM_BREAK_AFMODE_INPUT;
  sBreakDeadTimeConfig.AutomaticOutput = TIM_AUTOMATICOUTPUT_DISABLE;
  if (HAL_TIMEx_ConfigBreakDeadTime(&htim8, &sBreakDeadTimeConfig) != HAL_OK)
  {
    Error_Handler();
  }
  HAL_TIM_MspPostInit(&htim8);

}

static void MX_TIM20_Init(void)
{

  TIM_MasterConfigTypeDef sMasterConfig = {0};
  TIM_OC_InitTypeDef sConfigOC = {0};
  TIM_BreakDeadTimeConfigTypeDef sBreakDeadTimeConfig = {0};

  htim20.Instance = TIM20;
  htim20.Init.Prescaler = 1;
  htim20.Init.CounterMode = TIM_COUNTERMODE_CENTERALIGNED1;
  htim20.Init.Period = 4250;
  htim20.Init.ClockDivision = TIM_CLOCKDIVISION_DIV1;
  htim20.Init.RepetitionCounter = 0;
  htim20.Init.AutoReloadPreload = TIM_AUTORELOAD_PRELOAD_DISABLE;
  if (HAL_TIM_PWM_Init(&htim20) != HAL_OK)
  {
    Error_Handler();
  }
  sMasterConfig.MasterOutputTrigger = TIM_TRGO_RESET;
  sMasterConfig.MasterOutputTrigger2 = TIM_TRGO2_OC4REF;
  sMasterConfig.MasterSlaveMode = TIM_MASTERSLAVEMODE_DISABLE;
  if (HAL_TIMEx_MasterConfigSynchronization(&htim20, &sMasterConfig) != HAL_OK)
  {
    Error_Handler();
  }
  sConfigOC.OCMode = TIM_OCMODE_PWM1;
  sConfigOC.Pulse = 0;
  sConfigOC.OCPolarity = TIM_OCPOLARITY_HIGH;
  sConfigOC.OCNPolarity = TIM_OCNPOLARITY_HIGH;
  sConfigOC.OCFastMode = TIM_OCFAST_DISABLE;
  sConfigOC.OCIdleState = TIM_OCIDLESTATE_RESET;
  sConfigOC.OCNIdleState = TIM_OCNIDLESTATE_RESET;
  if (HAL_TIM_PWM_ConfigChannel(&htim20, &sConfigOC, TIM_CHANNEL_1) != HAL_OK)
  {
    Error_Handler();
  }
  if (HAL_TIM_PWM_ConfigChannel(&htim20, &sConfigOC, TIM_CHANNEL_2) != HAL_OK)
  {
    Error_Handler();
  }
  if (HAL_TIM_PWM_ConfigChannel(&htim20, &sConfigOC, TIM_CHANNEL_3) != HAL_OK)
  {
    Error_Handler();
  }
  sBreakDeadTimeConfig.OffStateRunMode = TIM_OSSR_DISABLE;
  sBreakDeadTimeConfig.OffStateIDLEMode = TIM_OSSI_DISABLE;
  sBreakDeadTimeConfig.LockLevel = TIM_LOCKLEVEL_OFF;
  sBreakDeadTimeConfig.DeadTime = 0;
  sBreakDeadTimeConfig.BreakState = TIM_BREAK_DISABLE;
  sBreakDeadTimeConfig.BreakPolarity = TIM_BREAKPOLARITY_HIGH;
  sBreakDeadTimeConfig.BreakFilter = 0;
  sBreakDeadTimeConfig.BreakAFMode = TIM_BREAK_AFMODE_INPUT;
  sBreakDeadTimeConfig.Break2State = TIM_BREAK2_DISABLE;
  sBreakDeadTimeConfig.Break2Polarity = TIM_BREAK2POLARITY_HIGH;
  sBreakDeadTimeConfig.Break2Filter = 0;
  sBreakDeadTimeConfig.Break2AFMode = TIM_BREAK_AFMODE_INPUT;
  sBreakDeadTimeConfig.AutomaticOutput = TIM_AUTOMATICOUTPUT_DISABLE;
  if (HAL_TIMEx_ConfigBreakDeadTime(&htim20, &sBreakDeadTimeConfig) != HAL_OK)
  {
    Error_Handler();
  }
  HAL_TIM_MspPostInit(&htim20);

}

static void MX_UART4_Init(void)
{

  huart4.Instance = UART4;
  huart4.Init.BaudRate = 115200;
  huart4.Init.WordLength = UART_WORDLENGTH_8B;
  huart4.Init.StopBits = UART_STOPBITS_1;
  huart4.Init.Parity = UART_PARITY_NONE;
  huart4.Init.Mode = UART_MODE_TX_RX;
  huart4.Init.HwFlowCtl = UART_HWCONTROL_NONE;
  huart4.Init.OverSampling = UART_OVERSAMPLING_16;
  huart4.Init.OneBitSampling = UART_ONE_BIT_SAMPLE_DISABLE;
  huart4.Init.ClockPrescaler = UART_PRESCALER_DIV1;
  huart4.AdvancedInit.AdvFeatureInit = UART_ADVFEATURE_NO_INIT;
  if (HAL_UART_Init(&huart4) != HAL_OK)
  {
    Error_Handler();
  }
  if (HAL_UARTEx_SetTxFifoThreshold(&huart4, UART_TXFIFO_THRESHOLD_1_8) != HAL_OK)
  {
    Error_Handler();
  }
  if (HAL_UARTEx_SetRxFifoThreshold(&huart4, UART_RXFIFO_THRESHOLD_1_8) != HAL_OK)
  {
    Error_Handler();
  }
  if (HAL_UARTEx_DisableFifoMode(&huart4) != HAL_OK)
  {
    Error_Handler();
  }

}

static void MX_USART2_UART_Init(void)
{

  huart2.Instance = USART2;
  huart2.Init.BaudRate = 115200;
  huart2.Init.WordLength = UART_WORDLENGTH_8B;
  huart2.Init.StopBits = UART_STOPBITS_1;
  huart2.Init.Parity = UART_PARITY_NONE;
  huart2.Init.Mode = UART_MODE_TX_RX;
  huart2.Init.HwFlowCtl = UART_HWCONTROL_NONE;
  huart2.Init.OverSampling = UART_OVERSAMPLING_16;
  huart2.Init.OneBitSampling = UART_ONE_BIT_SAMPLE_DISABLE;
  huart2.Init.ClockPrescaler = UART_PRESCALER_DIV1;
  huart2.AdvancedInit.AdvFeatureInit = UART_ADVFEATURE_NO_INIT;
  if (HAL_UART_Init(&huart2) != HAL_OK)
  {
    Error_Handler();
  }
  if (HAL_UARTEx_SetTxFifoThreshold(&huart2, UART_TXFIFO_THRESHOLD_1_8) != HAL_OK)
  {
    Error_Handler();
  }
  if (HAL_UARTEx_SetRxFifoThreshold(&huart2, UART_RXFIFO_THRESHOLD_1_8) != HAL_OK)
  {
    Error_Handler();
  }
  if (HAL_UARTEx_DisableFifoMode(&huart2) != HAL_OK)
  {
    Error_Handler();
  }

}

static void MX_USB_PCD_Init(void)
{

  hpcd_USB_FS.Instance = USB;
  hpcd_USB_FS.Init.dev_endpoints = 8;
  hpcd_USB_FS.Init.speed = PCD_SPEED_FULL;
  hpcd_USB_FS.Init.phy_itface = PCD_PHY_EMBEDDED;
  hpcd_USB_FS.Init.Sof_enable = DISABLE;
  hpcd_USB_FS.Init.low_power_enable = DISABLE;
  hpcd_USB_FS.Init.lpm_enable = DISABLE;
  hpcd_USB_FS.Init.battery_charging_enable = DISABLE;
  if (HAL_PCD_Init(&hpcd_USB_FS) != HAL_OK)
  {
    Error_Handler();
  }

}

static void MX_GPIO_Init(void)
{

  /* GPIO Ports Clock Enable */
  __HAL_RCC_GPIOF_CLK_ENABLE();
  __HAL_RCC_GPIOC_CLK_ENABLE();
  __HAL_RCC_GPIOA_CLK_ENABLE();
  __HAL_RCC_GPIOB_CLK_ENABLE();

}

/* USER CODE BEGIN 4 */
#ifdef __GNUC__
int _write(int file, char *ptr, int len)
{
    HAL_UART_Transmit(&huart2, (uint8_t *)ptr, len, HAL_MAX_DELAY);
    return len;
}
// Keil MDKなどの場合の printf リダイレクト
#else
int fputc(int ch, FILE *f)
{
    HAL_UART_Transmit(&huart2, (uint8_t *)&ch, 1, HAL_MAX_DELAY);
    return ch;
}
#endif
/* USER CODE END 4 */

void Error_Handler(void)
{
  __disable_irq();
  while (1)
  {
  }
}
